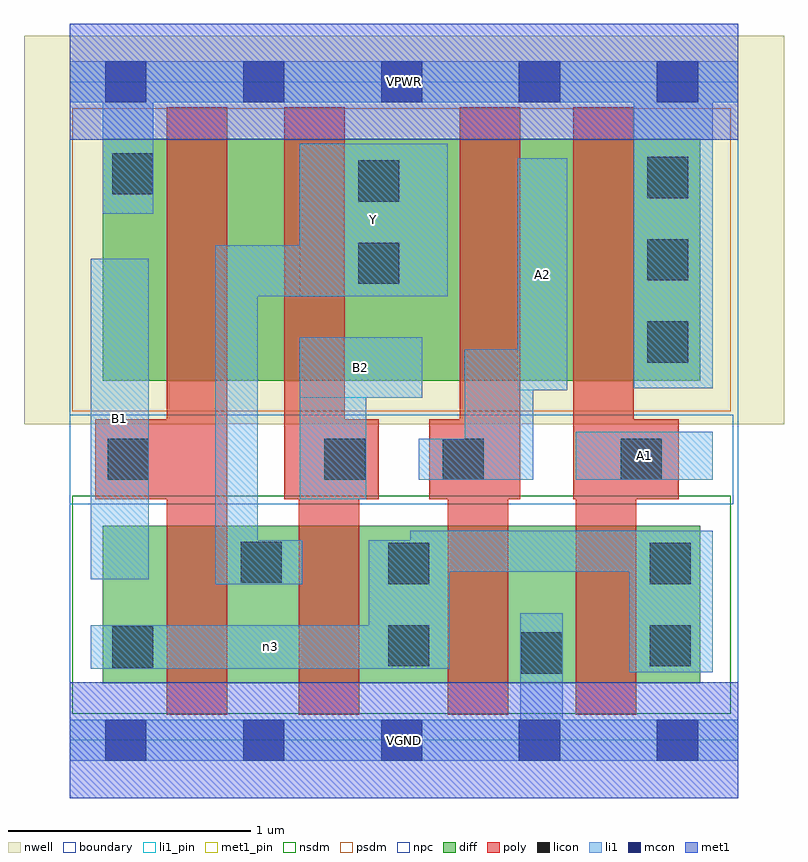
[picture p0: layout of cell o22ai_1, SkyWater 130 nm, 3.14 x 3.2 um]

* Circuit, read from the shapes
.subckt o22ai_1 A1 A2 B1 B2 VGND VPWR Y n3
XM1 Y B1 n3 VSUBS sky130_fd_pr__nfet_01v8 w=0.65 l=0.25
XM2 n3 B2 Y VSUBS sky130_fd_pr__nfet_01v8 w=0.65 l=0.25
XM3 VGND A2 n3 VSUBS sky130_fd_pr__nfet_01v8 w=0.65 l=0.25
XM4 n3 A1 VGND VSUBS sky130_fd_pr__nfet_01v8 w=0.65 l=0.25
XM5 n1 B1 VPWR n2 sky130_fd_pr__pfet_01v8 w=1 l=0.25
XM6 Y B2 n1 n2 sky130_fd_pr__pfet_01v8 w=1 l=0.25
XM7 n4 A2 Y n2 sky130_fd_pr__pfet_01v8 w=1 l=0.25
XM8 VPWR A1 n4 n2 sky130_fd_pr__pfet_01v8 w=1 l=0.25
.ends

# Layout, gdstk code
import gdstk
lib = gdstk.Library(unit=1e-6, precision=1e-09)
def R(c, l, rs):  # rectangles x0, y0, x1, y1
    for r in rs: c.add(gdstk.rectangle(r[:2], r[2:], *l))
def A(c, l, x, y, w, h, nx, ny, dx, dy):  # array of equal rectangles
    R(c, l, [(x+i*dx, y+j*dy, x+i*dx+w, y+j*dy+h) for i in range(nx) for j in range(ny)])
nwell = (64, 20)
diff = (65, 20)
poly = (66, 20)
licon = (66, 44)
li1_pin = (67, 16)
li1 = (67, 20)
mcon = (67, 44)
met1_pin = (68, 16)
met1 = (68, 20)
nsdm = (93, 44)
psdm = (94, 20)
npc = (95, 20)
boundary = (235, 4)

o22ai_1 = lib.new_cell('o22ai_1')
R(o22ai_1, nwell, [(-0.19,1.305,2.95,2.91), (0,1.305,2.76,2.91)])
R(o22ai_1, diff, [(0.135,0.235,2.605,0.885), (0.135,1.485,2.605,2.485)])
R(o22ai_1, poly, [(0.4,0.105,0.65,2.615), (0.945,0.105,1.195,1.325), (1.56,0.105,1.81,1.325), (2.09,0.105,2.34,1.325), (0.105,0.995,0.65,1.325), (0.885,0.995,1.135,2.615), (0.885,0.995,1.275,1.325), (1.485,0.995,1.86,1.325), (1.61,0.995,1.86,2.615), (2.08,0.995,2.33,2.615), (2.08,0.995,2.515,1.325)])
A(o22ai_1, licon, 2.385, 1.56, 0.17, 0.17, 1, 3, 0, 0.34)
R(o22ai_1, licon, [(1.865,0.275,2.035,0.445), (0.175,0.3,0.345,0.47), (1.315,0.305,1.485,0.475), (2.395,0.305,2.565,0.475), (1.315,0.645,1.485,0.815), (2.395,0.645,2.565,0.815), (0.705,0.65,0.875,0.82), (0.155,1.075,0.325,1.245), (1.05,1.075,1.22,1.245), (1.54,1.075,1.71,1.245), (2.275,1.075,2.445,1.245), (1.19,1.885,1.36,2.055), (1.19,2.225,1.36,2.395), (0.175,2.255,0.345,2.425)])
R(o22ai_1, li1_pin, [(0.085,0.665,0.325,1.99), (2.09,1.075,2.655,1.275), (0.95,1.415,1.455,1.665), (1.85,1.445,2.055,2.405), (0.95,1.835,1.56,2.465)])
R(o22ai_1, li1, [(0,-0.085,2.76,0.085), (1.86,-0.085,2.035,0.525), (2.31,0.28,2.655,0.865), (0.085,0.295,1.57,0.475), (1.235,0.295,1.57,0.825), (0.6,0.645,0.775,2.045), (0.6,0.645,0.96,0.825), (0.085,0.665,0.325,1.99), (1.405,0.695,2.655,0.865), (0.95,0.995,1.225,1.665), (1.44,1.075,1.915,1.245), (1.63,1.075,1.915,1.615), (2.09,1.075,2.655,1.275), (0.95,1.415,1.455,1.665), (1.85,1.445,2.055,2.405), (2.33,1.455,2.655,2.805), (0.6,1.835,1.56,2.045), (0.95,1.835,1.56,2.465), (0.135,2.175,0.345,2.805), (0,2.635,2.76,2.805)])
A(o22ai_1, mcon, 0.145, -0.085, 0.17, 0.17, 5, 2, 0.57, 2.72)
R(o22ai_1, met1_pin, [(0,-0.24,2.76,0.24), (0,2.48,2.76,2.96)])
R(o22ai_1, met1, [(0,-0.24,2.76,0.24), (0,2.48,2.76,2.96)])
R(o22ai_1, nsdm, [(0.01,0.11,2.73,1.01)])
R(o22ai_1, psdm, [(0.01,1.36,2.73,2.61)])
R(o22ai_1, npc, [(0,0.975,2.74,1.345)])
R(o22ai_1, boundary, [(0,0,2.76,2.72)])
o22ai_1.add(gdstk.Label('A1', (2.372,1.175), layer=67, texttype=5))
o22ai_1.add(gdstk.Label('A2', (1.952,1.925), layer=67, texttype=5))
o22ai_1.add(gdstk.Label('B1', (0.205,1.327), layer=67, texttype=5))
o22ai_1.add(gdstk.Label('B2', (1.202,1.54), layer=67, texttype=5))
o22ai_1.add(gdstk.Label('Y', (1.255,2.15), layer=67, texttype=5))
o22ai_1.add(gdstk.Label('n3', (0.827,0.385), layer=67, texttype=5))
o22ai_1.add(gdstk.Label('VPWR', (1.38,2.72), layer=68, texttype=5))
o22ai_1.add(gdstk.Label('VGND', (1.38,0), layer=68, texttype=5))
o22ai_1.add(gdstk.Label('A1', (2.372,1.175), layer=67, texttype=16))
o22ai_1.add(gdstk.Label('A2', (1.952,1.925), layer=67, texttype=16))
o22ai_1.add(gdstk.Label('B1', (0.205,1.327), layer=67, texttype=16))
o22ai_1.add(gdstk.Label('B2', (1.202,1.54), layer=67, texttype=16))
o22ai_1.add(gdstk.Label('Y', (1.255,2.15), layer=67, texttype=16))
o22ai_1.add(gdstk.Label('VPWR', (1.38,2.72), layer=68, texttype=16))
o22ai_1.add(gdstk.Label('VGND', (1.38,0), layer=68, texttype=16))

lib.write_gds('o22ai_1.gds')
